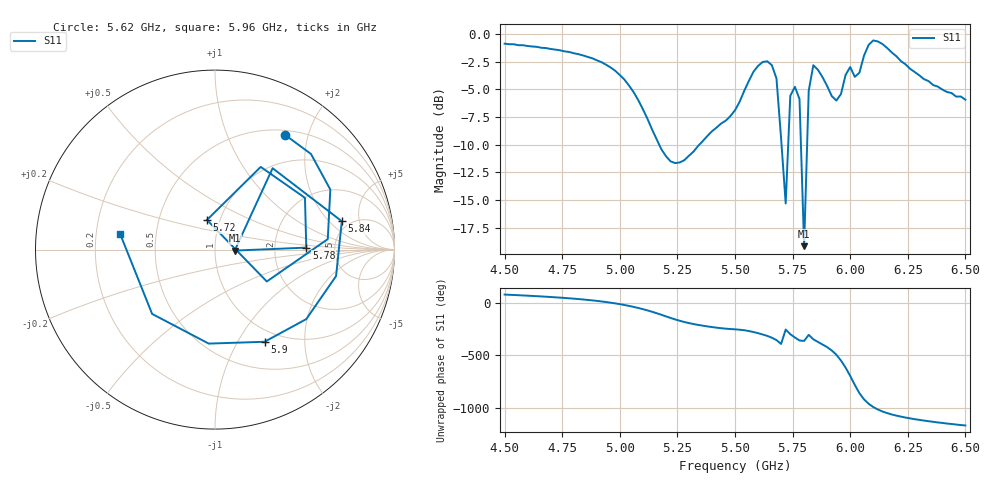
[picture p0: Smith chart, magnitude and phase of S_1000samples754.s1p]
! TOUCHSTONE file generated by CST MICROWAVE STUDIO
! Date and time: Sat Oct 29 06:43:17 2022
! Project name: L.cst
! Parameters = {Di=1.27; Epsilon_r=1.56; InnerDiameter=1.27; Length=2; Lf=10; Lg=60; OuterConductorThickness=0.2921; OuterDiameter=3.6; Wf=3; Wp=41.2; de=1.5; df=6.8; g=0.8; gx=4.60698; gy=1.75628; h=2.34; hf=1.524; px=13.4273; py=14.4982; w=9.7; wx=8.82032; wy=12.7419}
! Header version: 2018
! Port assignment regex: !\s*Touchstone port\s*([0-9]+)\s*=\s*(CST MWS port|CST DS port)\s*([0-9]+|Zmin|Zmax)\s*\(\"(.*)\"\)(\s*mode\s*([0-9]+))?.*
! Touchstone port assignment:
! Touchstone port 1 = CST MWS port 1 ("")
# GHz S DB R 50
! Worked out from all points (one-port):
!   101 points, 4.5 GHz to 6.5 GHz, reference 50 ohm
!   lowest |S11| = -19.2 dB at 5.8 GHz (marker M1), VSWR 1.25, Z = 62.3 - j0.693 ohm
!   |S11| at or under -10 dB: 5.171 GHz to 5.345 GHz (174 MHz wide, 3.31 % of centre); 5.702 GHz to 5.731 GHz (28.89 MHz wide, 0.505 % of centre); 5.786201 GHz to 5.813048 GHz (26.85 MHz wide, 0.463 % of centre)
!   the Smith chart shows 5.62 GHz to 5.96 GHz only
!   S11 on the Smith chart (normalised r, x): 5.62 GHz: 0.57, +1.64; 5.72 GHz: 0.87, +0.30; 5.78 GHz: 3.07, +0.09; 5.84 GHz: 4.29, +2.84; 5.9 GHz: 0.84, -1.30; 5.96 GHz: 0.30, +0.08
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4.5  -0.85 78.2
4.76  -1.55 45.8
5  -3.69 -13.1
5.12  -7.65 -72.5
5.26  -11.61 -171.0
5.5  -6.88 107.5
5.62  -2.51 58.4
5.68  -4.00 5.3
5.7  -9.40 -31.6
5.72  -15.32 105.1
5.74  -5.57 61.1
5.76  -4.76 29.9
5.78  -5.87 1.2
5.8  -19.19 -2.9
5.82  -5.10 54.7
5.84  -2.81 12.6
5.9  -4.69 -61.7
5.94  -6.00 -134.4
5.96  -5.41 170.5
5.98  -3.68 103.6
6  -2.96 24.3
6.02  -3.86 -61.3
6.04  -3.48 -139.6
6.06  -1.93 161.4
6.1  -0.56 88.4
6.14  -0.88 45.9
6.26  -3.13 -19.4
6.5  -5.93 -86.9
